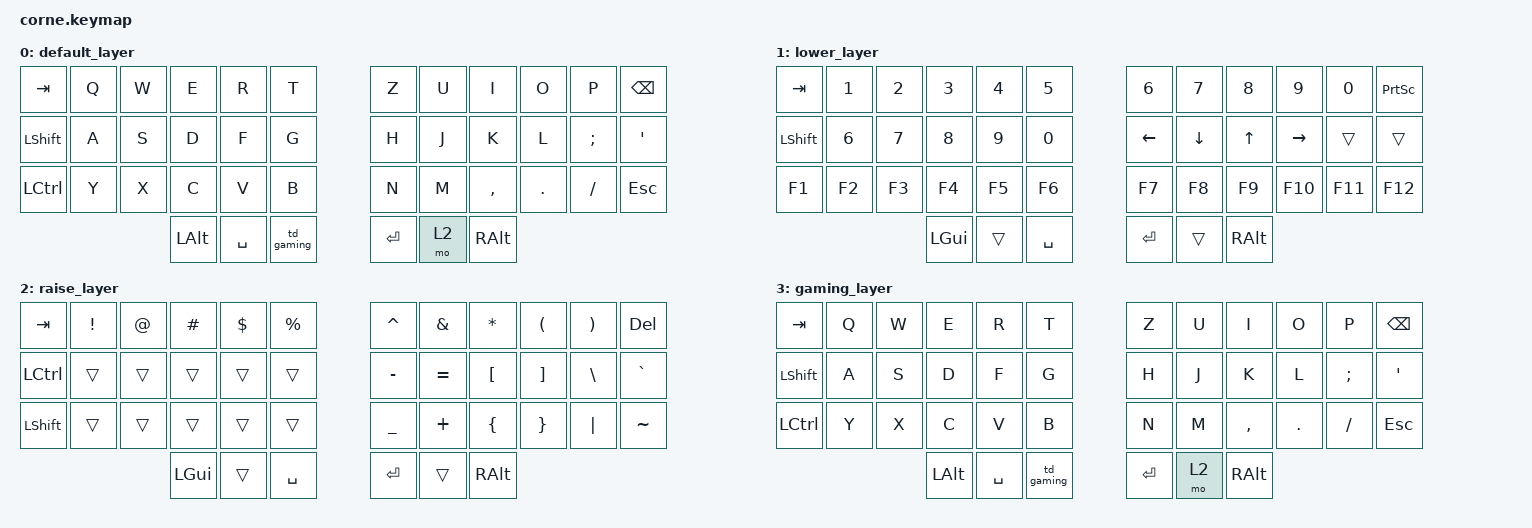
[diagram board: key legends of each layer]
/*
 * Copyright (c) 2020 The ZMK Contributors
 *
 * SPDX-License-Identifier: MIT
 */

#include <behaviors.dtsi>
#include <dt-bindings/zmk/keys.h>
#include <dt-bindings/zmk/bt.h>
#include <dt-bindings/zmk/ext_power.h>

//&led_strip {
  //  chain-length = <27>;
//};



/ {
        behaviors {
                td_gaming: tap_dance_gaming {
                        compatible = "zmk,behavior-tap-dance";
                        #binding-cells = <0>;
                        bindings = <&mo 1>, <&tog 3>;
                };
        };

        keymap {
                compatible = "zmk,keymap";

                default_layer {
// -----------------------------------------------------------------------------------------
// |  TAB |  Q  |  W  |  E  |  R  |  T  |   |  Y  |  U   |  I  |  O  |  P  | BSPC |
// | CTRL |  A  |  S  |  D  |  F  |  G  |   |  H  |  J   |  K  |  L  |  ;  |  '   |
// | SHFT |  Z  |  X  |  C  |  V  |  B  |   |  N  |  M   |  ,  |  .  |  /  | ESC  |
//                    | GUI | LWR | SPC |   | ENT | RSE  | ALT |
                        bindings = <
   &kp TAB   &kp Q &kp W &kp E &kp R &kp T   &kp Z &kp U  &kp I     &kp O   &kp P    &kp BSPC
   &kp LSHIFT &kp A &kp S &kp D &kp F &kp G   &kp H &kp J  &kp K     &kp L   &kp SEMI &kp SQT
   &kp LCTRL &kp Y &kp X &kp C &kp V &kp B   &kp N &kp M  &kp COMMA &kp DOT &kp FSLH &kp ESC
                  &kp LALT &kp SPACE &td_gaming   &kp RET &mo 2 &kp RALT
                        >;
                };
                lower_layer {
// -----------------------------------------------------------------------------------------
// |  TAB |  1  |  2  |  3  |  4  |  5  |   |  6  |  7  |  8  |  9  |  0  | BSPC |
// |  6   |  7  |  8  |  9  |  0  |     |   | LFT | DWN |  UP | RGT |     |      |
// | F1   | F2  | F3  | F4  | F5  | F6  |   | F7  | F8  | F9  | F10 | F11 | F12  |
//                    | GUI |     | SPC |   | ENT |     | ALT |
                        bindings = <
        &kp TAB    &kp N1       &kp N2       &kp N3       &kp N4       &kp N5         &kp N6   &kp N7   &kp N8 &kp N9    &kp N0 &kp PSCRN
   &kp LSHIFT &kp N6      &kp N7       &kp N8       &kp N9       &kp N0           &kp LEFT &kp DOWN &kp UP &kp RIGHT &trans &trans
   &kp F1     &kp F2       &kp F3       &kp F4       &kp F5       &kp F6         &kp F7   &kp F8   &kp F9 &kp F10   &kp F11 &kp F12
                                    &kp LGUI     &trans       &kp SPACE      &kp RET  &trans   &kp RALT
                        >;
                };

                raise_layer {
// -----------------------------------------------------------------------------------------
// |  TAB |  !  |  @  |  #  |  $  |  %  |   |  ^  |  &  |  *  |  (  |  )  | BSPC |
// | CTRL |     |     |     |     |     |   |  -  |  =  |  [  |  ]  |  \  |  `   |
// | SHFT |     |     |     |     |     |   |  _  |  +  |  {  |  }  | "|" |  ~   |
//                    | GUI |     | SPC |   | ENT |     | ALT |
                        bindings = <
   &kp  TAB  &kp EXCL &kp AT &kp HASH &kp DLLR &kp PRCNT   &kp CARET &kp AMPS  &kp ASTRK &kp LPAR &kp RPAR &kp DEL
   &kp LCTRL &trans   &trans &trans   &trans   &trans      &kp MINUS &kp EQUAL &kp LBKT  &kp RBKT &kp BSLH &kp GRAVE
   &kp LSHFT &trans   &trans &trans   &trans   &trans      &kp UNDER &kp PLUS  &kp LBRC  &kp RBRC &kp PIPE &kp TILDE
                             &kp LGUI &trans   &kp SPACE   &kp RET   &trans    &kp RALT
                        >;
                };

                gaming_layer {
// -----------------------------------------------------------------------------------------
// |  TAB |  Q  |  W  |  E  |  R  |  T  |   |  Y  |  U   |  I  |  O  |  P  | BSPC |
// | CTRL |  A  |  S  |  D  |  F  |  G  |   |  H  |  J   |  K  |  L  |  ;  |  '   |
// | SHFT |  Z  |  X  |  C  |  V  |  B  |   |  N  |  M   |  ,  |  .  |  /  | ESC  |
//                    | ALT | LWR | SPC |   | ENT | RSE  | ALT |
                        bindings = <
   &kp TAB   &kp Q &kp W &kp E &kp R &kp T   &kp Z &kp U  &kp I     &kp O   &kp P    &kp BSPC
   &kp LSHIFT &kp A &kp S &kp D &kp F &kp G   &kp H &kp J  &kp K     &kp L   &kp SEMI &kp SQT
   &kp LCTRL &kp Y &kp X &kp C &kp V &kp B   &kp N &kp M  &kp COMMA &kp DOT &kp FSLH &kp ESC
                  &kp LALT &kp SPACE &td_gaming   &kp RET &mo 2 &kp RALT
                        >;
                };
        };
};
